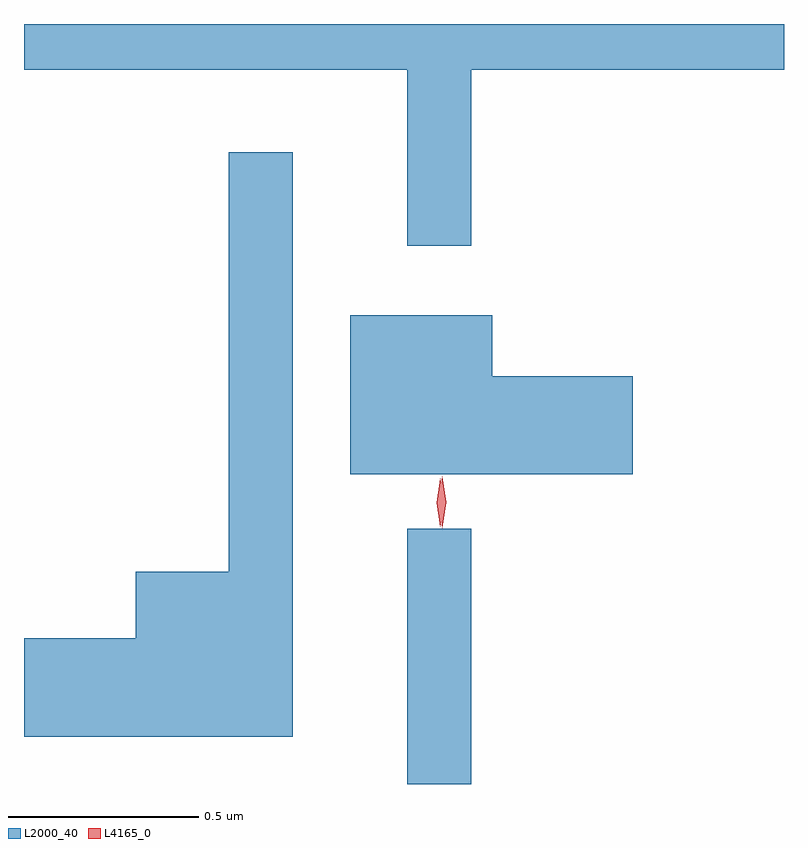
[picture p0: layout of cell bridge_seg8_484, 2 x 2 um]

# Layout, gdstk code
import gdstk
lib = gdstk.Library(unit=1e-6, precision=1e-09)
def R(c, l, rs):  # rectangles x0, y0, x1, y1
    for r in rs: c.add(gdstk.rectangle(r[:2], r[2:], *l))
def P(c, l, *ps):  # polygons
    for p in ps: c.add(gdstk.Polygon(p, *l))
L2000_40 = (2000, 40)
L4165_0 = (4165, 0)

bridge_seg8_484 = lib.new_cell('bridge_seg8_484')
R(bridge_seg8_484, L2000_40, [(433.201,1918.896,433.369,1919.568)])
P(bridge_seg8_484, L2000_40, [(433.369,1920.776),(434.192,1920.776),(434.192,1920.896),(432.192,1920.896),(432.192,1920.776),(433.201,1920.776),(433.201,1920.313),(433.369,1920.313)],
  [(432.899,1920.558),(432.731,1920.558),(432.731,1919.454),(432.486,1919.454),(432.486,1919.279),(432.192,1919.279),(432.192,1919.021),(432.899,1919.021)],
  [(433.794,1919.969),(433.424,1919.969),(433.424,1920.129),(433.051,1920.129),(433.051,1919.711),(433.794,1919.711)])
P(bridge_seg8_484, L4165_0, [(433.293,1919.569),(433.292,1919.57),(433.283,1919.638),(433.292,1919.705),(433.293,1919.706),(433.293,1919.705),(433.303,1919.638),(433.293,1919.57)],
  [(433.287,1919.573),(433.278,1919.636),(433.287,1919.699),(433.288,1919.7),(433.288,1919.699),(433.298,1919.636),(433.288,1919.573),(433.288,1919.573)])

lib.write_gds('bridge_seg8_484.gds')
